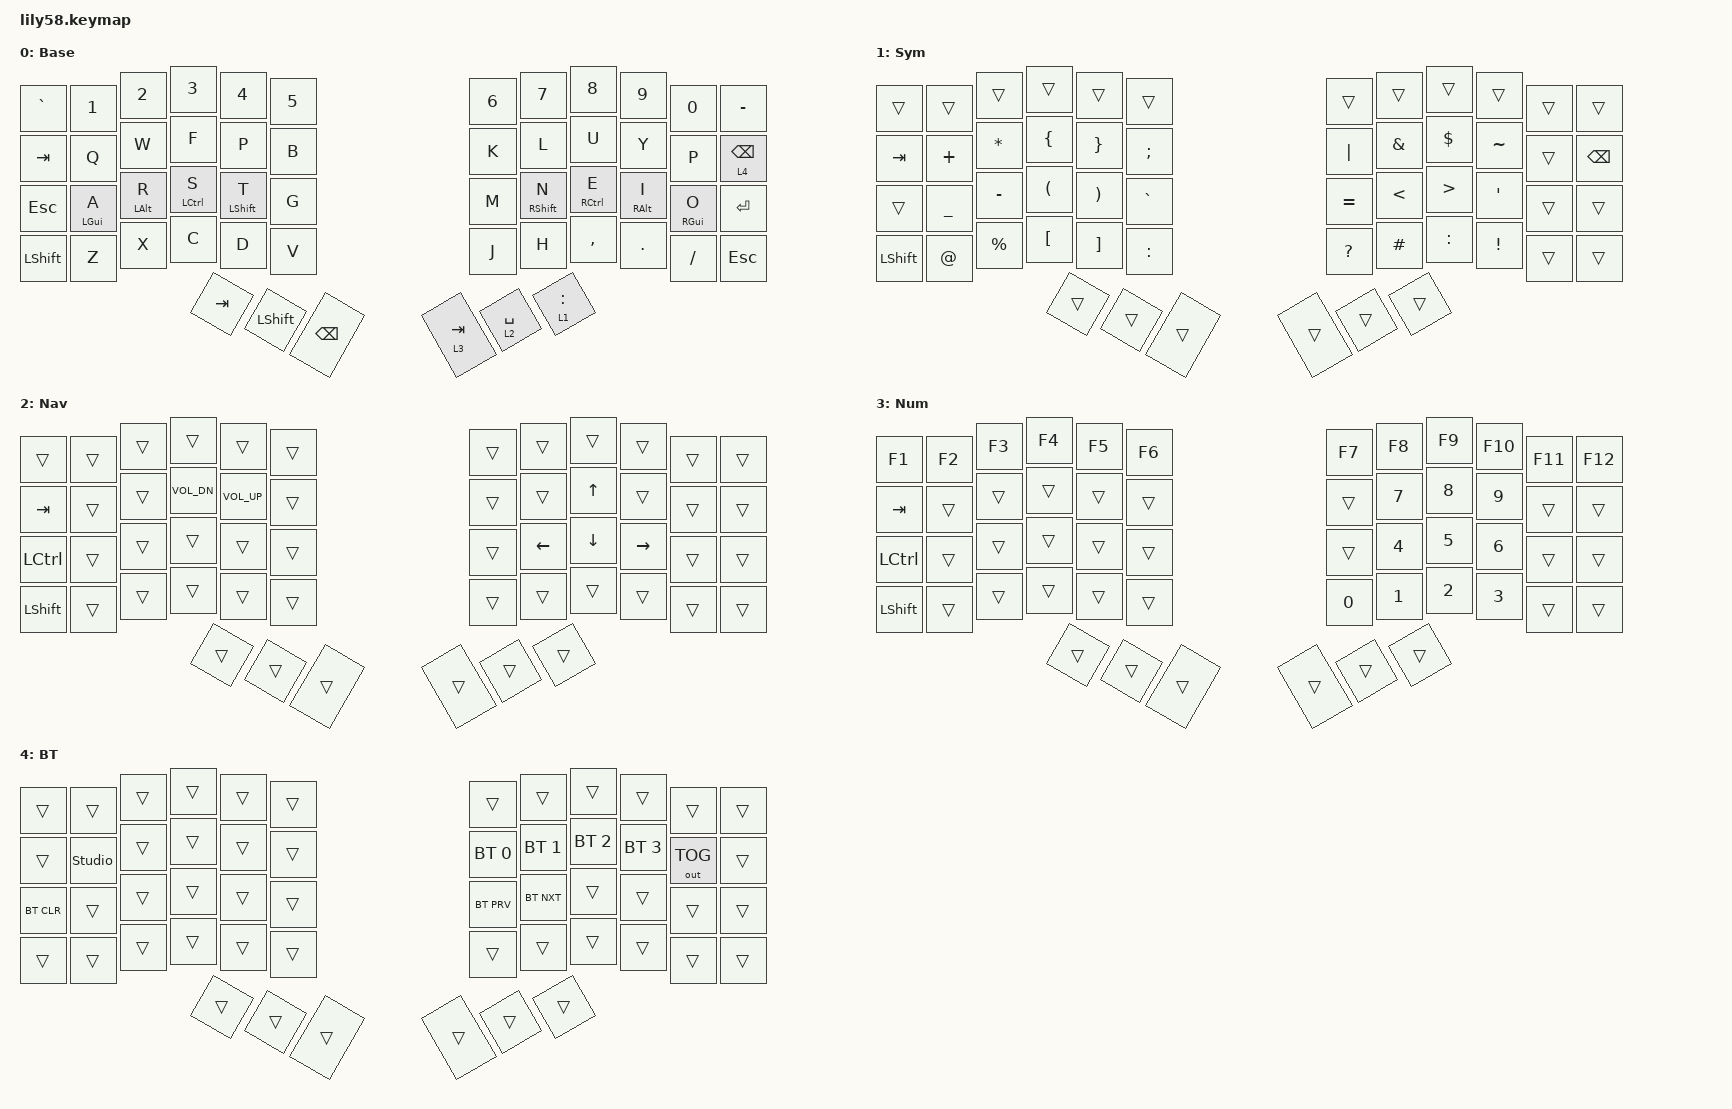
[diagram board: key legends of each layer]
/*
 * Copyright (c) 2020 The ZMK Contributors
 *
 * SPDX-License-Identifier: MIT
 */

#include <behaviors.dtsi>
#include <dt-bindings/zmk/keys.h>
#include <dt-bindings/zmk/bt.h>
#include <dt-bindings/zmk/ext_power.h>
#include <dt-bindings/zmk/outputs.h>

/*
 * Cygnus 4x6 on the Lily58 matrix. The halves use the Lily58 shield, its pins
 * and its rows and columns. The Cygnus has 54 keys, the Lily58 58, so this
 * map leaves out four Lily58 matrix spots: the two inner keys beside the
 * bottom row (RC(4,5), RC(4,6)) and the outermost thumb on each side
 * (RC(4,1), RC(4,10)). The three Cygnus thumbs per side use the other three
 * Lily58 thumb spots, outer to inner on the left and inner to outer on the
 * right. Wire the Cygnus thumbs to those spots.
 *
 * It replaces the map of the shield's default_transform rather than adding a
 * new transform, so the right half keeps the shield's col-offset of 6.
 *
 * The map uses MX(row, col) instead of the usual RC(row, col): keys.h, included
 * above, redefines RC() as the "right Ctrl +" key modifier, which takes one
 * argument. MX is the same formula as RC in matrix_transform.h.
 */
#define MX(row, col) (((row) << 8) + (col))
&default_transform {
    map = <
MX(0,0) MX(0,1) MX(0,2) MX(0,3) MX(0,4) MX(0,5)     MX(0,6) MX(0,7) MX(0,8) MX(0,9) MX(0,10) MX(0,11)
MX(1,0) MX(1,1) MX(1,2) MX(1,3) MX(1,4) MX(1,5)     MX(1,6) MX(1,7) MX(1,8) MX(1,9) MX(1,10) MX(1,11)
MX(2,0) MX(2,1) MX(2,2) MX(2,3) MX(2,4) MX(2,5)     MX(2,6) MX(2,7) MX(2,8) MX(2,9) MX(2,10) MX(2,11)
MX(3,0) MX(3,1) MX(3,2) MX(3,3) MX(3,4) MX(3,5)     MX(3,6) MX(3,7) MX(3,8) MX(3,9) MX(3,10) MX(3,11)
                        MX(4,2) MX(4,3) MX(4,4)     MX(4,7) MX(4,8) MX(4,9)
    >;
};

/*
 * Cygnus 4x6 physical layout, for ZMK Studio. Same positions as
 * config/info.json (the Keymap Editor's copy), in hundredths of a key.
 */
/ {
    chosen {
        zmk,physical-layout = &cygnus_layout;
    };

    cygnus_layout: cygnus_layout {
        compatible = "zmk,physical-layout";
        display-name = "Cygnus 4x6";
        transform = <&default_transform>;

        keys  //                     w   h     x     y      rot    rx    ry
            = <&key_physical_attrs 100 100     0    38        0     0     0>
            , <&key_physical_attrs 100 100   100    38        0     0     0>
            , <&key_physical_attrs 100 100   200    12        0     0     0>
            , <&key_physical_attrs 100 100   300     0        0     0     0>
            , <&key_physical_attrs 100 100   400    12        0     0     0>
            , <&key_physical_attrs 100 100   500    25        0     0     0>
            , <&key_physical_attrs 100 100   900    25        0     0     0>
            , <&key_physical_attrs 100 100  1000    12        0     0     0>
            , <&key_physical_attrs 100 100  1100     0        0     0     0>
            , <&key_physical_attrs 100 100  1200    12        0     0     0>
            , <&key_physical_attrs 100 100  1300    38        0     0     0>
            , <&key_physical_attrs 100 100  1400    38        0     0     0>
            , <&key_physical_attrs 100 100     0   138        0     0     0>
            , <&key_physical_attrs 100 100   100   138        0     0     0>
            , <&key_physical_attrs 100 100   200   112        0     0     0>
            , <&key_physical_attrs 100 100   300   100        0     0     0>
            , <&key_physical_attrs 100 100   400   112        0     0     0>
            , <&key_physical_attrs 100 100   500   125        0     0     0>
            , <&key_physical_attrs 100 100   900   125        0     0     0>
            , <&key_physical_attrs 100 100  1000   112        0     0     0>
            , <&key_physical_attrs 100 100  1100   100        0     0     0>
            , <&key_physical_attrs 100 100  1200   112        0     0     0>
            , <&key_physical_attrs 100 100  1300   138        0     0     0>
            , <&key_physical_attrs 100 100  1400   138        0     0     0>
            , <&key_physical_attrs 100 100     0   238        0     0     0>
            , <&key_physical_attrs 100 100   100   238        0     0     0>
            , <&key_physical_attrs 100 100   200   212        0     0     0>
            , <&key_physical_attrs 100 100   300   200        0     0     0>
            , <&key_physical_attrs 100 100   400   212        0     0     0>
            , <&key_physical_attrs 100 100   500   225        0     0     0>
            , <&key_physical_attrs 100 100   900   225        0     0     0>
            , <&key_physical_attrs 100 100  1000   212        0     0     0>
            , <&key_physical_attrs 100 100  1100   200        0     0     0>
            , <&key_physical_attrs 100 100  1200   212        0     0     0>
            , <&key_physical_attrs 100 100  1300   238        0     0     0>
            , <&key_physical_attrs 100 100  1400   238        0     0     0>
            , <&key_physical_attrs 100 100     0   338        0     0     0>
            , <&key_physical_attrs 100 100   100   338        0     0     0>
            , <&key_physical_attrs 100 100   200   312        0     0     0>
            , <&key_physical_attrs 100 100   300   300        0     0     0>
            , <&key_physical_attrs 100 100   400   312        0     0     0>
            , <&key_physical_attrs 100 100   500   325        0     0     0>
            , <&key_physical_attrs 100 100   900   325        0     0     0>
            , <&key_physical_attrs 100 100  1000   312        0     0     0>
            , <&key_physical_attrs 100 100  1100   300        0     0     0>
            , <&key_physical_attrs 100 100  1200   312        0     0     0>
            , <&key_physical_attrs 100 100  1300   338        0     0     0>
            , <&key_physical_attrs 100 100  1400   338        0     0     0>
            , <&key_physical_attrs 100 100   390   412     3000   390   412>
            , <&key_physical_attrs 100 100   310   440     3000   398   790>
            , <&key_physical_attrs 100 150   415   390     3000   398   790>
            , <&key_physical_attrs 100 150   985   390  (-3000)  1102   790>
            , <&key_physical_attrs 100 100  1090   440  (-3000)  1102   790>
            , <&key_physical_attrs 100 100  1010   412  (-3000)  1110   412>
            ;
    };
};

/* Drop the stock Lily58 drawing: it has 58 keys and no longer matches. */
/delete-node/ &kata0510_lily58_layout;

/*
 * Keymap baseado no TBK Mini (Colemak-DH com home row mods).
 * As 3 fileiras de letras e os 6 polegares são iguais ao TBK; a fileira de
 * cima (números) é extra, porque o Cygnus tem 4 fileiras.
 *
 * Posições:
 *   00-11  fileira de números
 *   12-23  fileira de cima (Q W F P B | K L U Y P)
 *   24-35  fileira do meio (home row)
 *   36-47  fileira de baixo
 *   48 49 50  polegares esquerdos (de fora para dentro)
 *   51 52 53  polegares direitos (de dentro para fora)
 *
 * Camadas: 0 Base | 1 Sym (polegar direito de fora) | 2 Nav/setas (polegar
 * direito do meio, Espaço) | 3 Num (polegar direito de dentro, Tab) |
 * 4 Bluetooth (segure a tecla do canto direito da fileira de cima, Backspace).
 */
/ {
    keymap {
        compatible = "zmk,keymap";

        base_layer {
            display-name = "Base";
            bindings = <
    &kp GRAVE   &kp N1       &kp N2       &kp N3        &kp N4        &kp N5        &kp N6    &kp N7        &kp N8        &kp N9        &kp N0        &kp MINUS
    &kp TAB     &kp Q        &kp W        &kp F         &kp P         &kp B         &kp K     &kp L         &kp U         &kp Y         &kp P         &lt 4 BSPC
    &kp ESC     &mt LGUI A   &mt LALT R   &mt LCTRL S   &mt LSHFT T   &kp G         &kp M     &mt RSHFT N   &mt RCTRL E   &mt RALT I    &mt RGUI O    &kp ENTER
    &kp LSHFT   &kp Z        &kp X        &kp C         &kp D         &kp V         &kp J     &kp H         &kp COMMA     &kp DOT       &kp FSLH      &kp ESC
                                          &kp TAB       &kp LSHFT     &kp BSPC      &lt 3 TAB &lt 2 SPACE   &lt 1 COLON
            >;
        };

        sym_layer {
            display-name = "Sym";
            bindings = <
    &trans      &trans       &trans       &trans        &trans        &trans        &trans     &trans     &trans     &trans     &trans     &trans
    &kp TAB     &kp PLUS     &kp ASTRK    &kp LBRC      &kp RBRC      &kp SEMI      &kp PIPE   &kp AMPS   &kp DLLR   &kp TILDE  &trans     &kp BSPC
    &trans      &kp UNDER    &kp MINUS    &kp LPAR      &kp RPAR      &kp GRAVE     &kp EQUAL  &kp LT     &kp GT     &kp APOS   &trans     &trans
    &kp LSHFT   &kp AT       &kp PRCNT    &kp LBKT      &kp RBKT      &kp COLON     &kp QMARK  &kp HASH   &kp COLON  &kp EXCL   &trans     &trans
                                          &trans        &trans        &trans        &trans     &trans     &trans
            >;
        };

        nav_layer {
            display-name = "Nav";
            bindings = <
    &trans      &trans       &trans       &trans        &trans        &trans        &trans     &trans     &trans     &trans     &trans     &trans
    &kp TAB     &trans       &trans       &kp C_VOL_DN  &kp C_VOL_UP  &trans        &trans     &trans     &kp UP     &trans     &trans     &trans
    &kp LCTRL   &trans       &trans       &trans        &trans        &trans        &trans     &kp LEFT   &kp DOWN   &kp RIGHT  &trans     &trans
    &kp LSHFT   &trans       &trans       &trans        &trans        &trans        &trans     &trans     &trans     &trans     &trans     &trans
                                          &trans        &trans        &trans        &trans     &trans     &trans
            >;
        };

        num_layer {
            display-name = "Num";
            bindings = <
    &kp F1      &kp F2       &kp F3       &kp F4        &kp F5        &kp F6        &kp F7     &kp F8     &kp F9     &kp F10    &kp F11    &kp F12
    &kp TAB     &trans       &trans       &trans        &trans        &trans        &trans     &kp N7     &kp N8     &kp N9     &trans     &trans
    &kp LCTRL   &trans       &trans       &trans        &trans        &trans        &trans     &kp N4     &kp N5     &kp N6     &trans     &trans
    &kp LSHFT   &trans       &trans       &trans        &trans        &trans        &kp N0     &kp N1     &kp N2     &kp N3     &trans     &trans
                                          &trans        &trans        &trans        &trans     &trans     &trans
            >;
        };

        bt_layer {
            display-name = "BT";
            bindings = <
    &trans      &trans         &trans     &trans        &trans        &trans        &trans        &trans        &trans        &trans        &trans        &trans
    &trans      &studio_unlock &trans     &trans        &trans        &trans        &bt BT_SEL 0  &bt BT_SEL 1  &bt BT_SEL 2  &bt BT_SEL 3  &out OUT_TOG  &trans
    &bt BT_CLR  &trans         &trans     &trans        &trans        &trans        &bt BT_PRV    &bt BT_NXT    &trans        &trans        &trans        &trans
    &trans      &trans         &trans     &trans        &trans        &trans        &trans        &trans        &trans        &trans        &trans        &trans
                                          &trans        &trans        &trans        &trans        &trans        &trans
            >;
        };
    };
};
